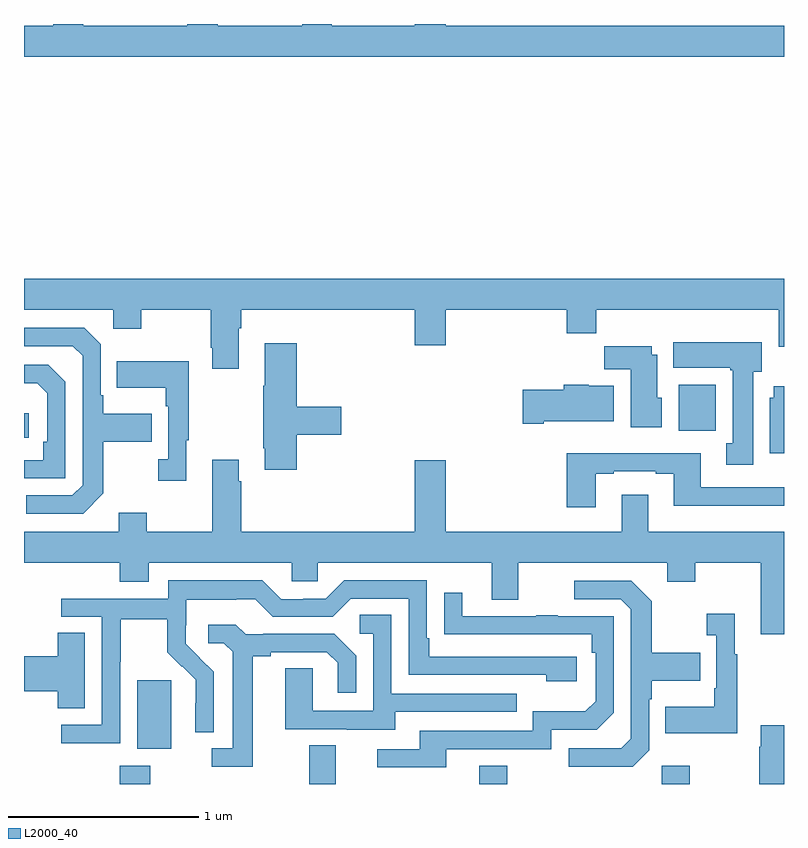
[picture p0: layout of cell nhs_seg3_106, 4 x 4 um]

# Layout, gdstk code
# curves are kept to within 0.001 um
import gdstk
lib = gdstk.Library(unit=1e-6, precision=1e-09)
def R(c, l, rs):  # rectangles x0, y0, x1, y1
    for r in rs: c.add(gdstk.rectangle(r[:2], r[2:], *l))
def P(c, l, *ps):  # polygons
    for p in ps: c.add(gdstk.Polygon(p, *l))
L2000_40 = (2000, 40)

nhs_seg3_106 = lib.new_cell('nhs_seg3_106')
R(nhs_seg3_106, L2000_40, [(115.505,718.4,115.665,718.495), (116.501,718.4,116.641,718.604), (117.395,718.4,117.543,718.495), (118.356,718.4,118.503,718.495), (115.595,718.586,115.774,718.947), (115,720.222,115.024,720.352), (118.445,720.26,118.642,720.502)])
P(nhs_seg3_106, L2000_40, [(119,722.392),(117.22,722.392),(117.22,722.4),(117.056,722.4),(117.056,722.392),(116.619,722.392),(116.619,722.4),(116.464,722.4),(116.464,722.392),(116.019,722.392),(116.019,722.4),(115.859,722.4),(115.859,722.392),(115.313,722.392),(115.313,722.4),(115.153,722.4),(115.153,722.392),(115,722.392),(115,722.228),(119,722.228)],
  [(116.131,720.8),(116.144,720.8),(116.144,720.896),(117.056,720.896),(117.056,720.708),(117.22,720.708),(117.22,720.896),(117.857,720.896),(117.857,720.772),(118.013,720.772),(118.013,720.896),(118.973,720.896),(118.973,720.702),(119,720.702),(119,721.06),(115,721.06),(115,720.896),(115.47,720.896),(115.47,720.797),(115.617,720.797),(115.617,720.896),(115.984,720.896),(115.984,720.697),(115.991,720.697),(115.991,720.585),(116.131,720.585)],
  [(115.417,719.929),(115.417,720.202),(115.673,720.202),(115.673,720.349),(115.417,720.349),(115.417,720.445),(115.404,720.445),(115.404,720.714),(115.317,720.801),(115,720.801),(115,720.705),(115.257,720.705),(115.308,720.654),(115.308,719.973),(115.254,719.919),(115.011,719.919),(115.011,719.823),(115.311,719.823)],
  [(118.837,720.57),(118.882,720.57),(118.882,720.724),(118.418,720.724),(118.418,720.59),(118.717,720.59),(118.717,720.577),(118.73,720.577),(118.73,720.194),(118.697,720.194),(118.697,720.081),(118.837,720.081)],
  [(116.435,720.239),(116.671,720.239),(116.671,720.386),(116.435,720.386),(116.435,720.721),(116.267,720.721),(116.267,720.497),(116.26,720.497),(116.26,720.166),(116.267,720.166),(116.267,720.054),(116.435,720.054)],
  [(118.357,720.432),(118.333,720.432),(118.333,720.658),(118.303,720.658),(118.303,720.703),(118.054,720.703),(118.054,720.584),(118.193,720.584),(118.193,720.278),(118.357,720.278)],
  [(115.855,720.209),(115.867,720.209),(115.867,720.625),(115.489,720.625),(115.489,720.485),(115.746,720.485),(115.746,720.389),(115.758,720.389),(115.758,720.11),(115.707,720.11),(115.707,719.997),(115.855,719.997)],
  [(115.218,720.516),(115.128,720.606),(115,720.606),(115,720.509),(115.069,720.509),(115.122,720.456),(115.122,720.202),(115.102,720.202),(115.102,720.105),(115,720.105),(115,720.009),(115.218,720.009)],
  [(117.736,720.308),(118.105,720.308),(118.105,720.496),(117.972,720.496),(117.972,720.502),(117.842,720.502),(117.842,720.474),(117.624,720.474),(117.624,720.296),(117.736,720.296)],
  [(119,720.493),(118.946,720.493),(118.946,720.432),(118.925,720.432),(118.925,720.14),(119,720.14)],
  [(118.009,720.033),(118.105,720.033),(118.105,720.045),(118.325,720.045),(118.325,720.033),(118.421,720.033),(118.421,719.864),(119,719.864),(119,719.961),(118.561,719.961),(118.561,720.142),(117.857,720.142),(117.857,719.856),(118.009,719.856)],
  [(119,719.728),(118.285,719.728),(118.285,719.923),(118.145,719.923),(118.145,719.728),(117.22,719.728),(117.22,720.103),(117.056,720.103),(117.056,719.728),(116.144,719.728),(116.144,719.993),(116.131,719.993),(116.131,720.106),(115.991,720.106),(115.991,719.728),(115.647,719.728),(115.647,719.827),(115.499,719.827),(115.499,719.728),(115,719.728),(115,719.564),(115.505,719.564),(115.505,719.465),(115.657,719.465),(115.657,719.564),(116.409,719.564),(116.409,719.466),(116.547,719.466),(116.547,719.564),(117.461,719.564),(117.461,719.37),(117.601,719.37),(117.601,719.564),(118.385,719.564),(118.385,719.465),(118.533,719.465),(118.533,719.564),(118.877,719.564),(118.877,719.187),(119,719.187)],
  [(115.506,719.044),(115.509,719.044),(115.509,719.268),(115.753,719.268),(115.753,719.093),(115.83,719.016),(115.833,719.019),(115.904,718.949),(115.904,718.826),(115.902,718.826),(115.902,718.672),(115.998,718.672),(115.998,718.99),(115.852,719.138),(115.852,719.235),(115.854,719.235),(115.854,719.369),(116.117,719.369),(116.117,719.373),(116.217,719.373),(116.31,719.28),(116.625,719.28),(116.721,719.376),(117.024,719.376),(117.024,718.974),(117.749,718.974),(117.749,718.94),(117.91,718.94),(117.91,719.07),(117.133,719.07),(117.133,719.167),(117.12,719.167),(117.12,719.472),(116.685,719.472),(116.589,719.376),(116.471,719.376),(116.471,719.373),(116.355,719.373),(116.255,719.473),(115.758,719.473),(115.758,719.376),(115.197,719.376),(115.197,719.28),(115.41,719.28),(115.41,718.713),(115.197,718.713),(115.197,718.615),(115.506,718.615)],
  [(118.29,718.578),(118.29,718.847),(118.303,718.847),(118.303,718.943),(118.559,718.943),(118.559,719.091),(118.303,719.091),(118.303,719.363),(118.197,719.469),(117.897,719.469),(117.897,719.373),(118.14,719.373),(118.194,719.319),(118.194,718.638),(118.143,718.587),(117.867,718.587),(117.867,718.491),(118.203,718.491)],
  [(117.223,718.584),(117.774,718.584),(117.774,718.686),(118.014,718.686),(118.104,718.776),(118.104,719.283),(117.809,719.283),(117.809,719.288),(117.697,719.288),(117.697,719.283),(117.307,719.283),(117.307,719.407),(117.211,719.407),(117.211,719.188),(117.988,719.187),(117.988,719.09),(118.008,719.09),(118.008,718.836),(117.955,718.783),(117.678,718.783),(117.678,718.68),(117.083,718.68),(117.083,718.584),(116.859,718.584),(116.859,718.488),(117.223,718.488)],
  [(118.753,719.083),(118.741,719.083),(118.741,719.296),(118.593,719.296),(118.593,719.183),(118.644,719.183),(118.644,718.903),(118.632,718.903),(118.632,718.807),(118.375,718.807),(118.375,718.667),(118.753,718.667)],
  [(116.953,718.779),(117.593,718.779),(117.593,718.875),(116.934,718.875),(116.934,719.291),(116.766,719.291),(116.766,719.19),(116.838,719.19),(116.838,718.785),(116.52,718.785),(116.52,719.009),(116.375,719.009),(116.375,718.689),(116.699,718.689),(116.699,718.685),(116.953,718.685)],
  [(116.203,719.072),(116.299,719.072),(116.299,719.094),(116.594,719.094),(116.651,719.037),(116.651,718.881),(116.748,718.881),(116.748,719.074),(116.632,719.19),(116.26,719.19),(116.26,719.187),(116.166,719.187),(116.114,719.239),(115.971,719.239),(115.971,719.142),(116.052,719.142),(116.099,719.095),(116.099,718.587),(115.989,718.587),(115.989,718.491),(116.203,718.491)],
  [(115.321,719.195),(115.178,719.195),(115.178,719.072),(115,719.072),(115,718.889),(115.178,718.889),(115.178,718.798),(115.321,718.798)],
  [(119,718.708),(118.877,718.708),(118.877,718.595),(118.87,718.595),(118.87,718.4),(119,718.4)])

lib.write_gds('nhs_seg3_106.gds')
